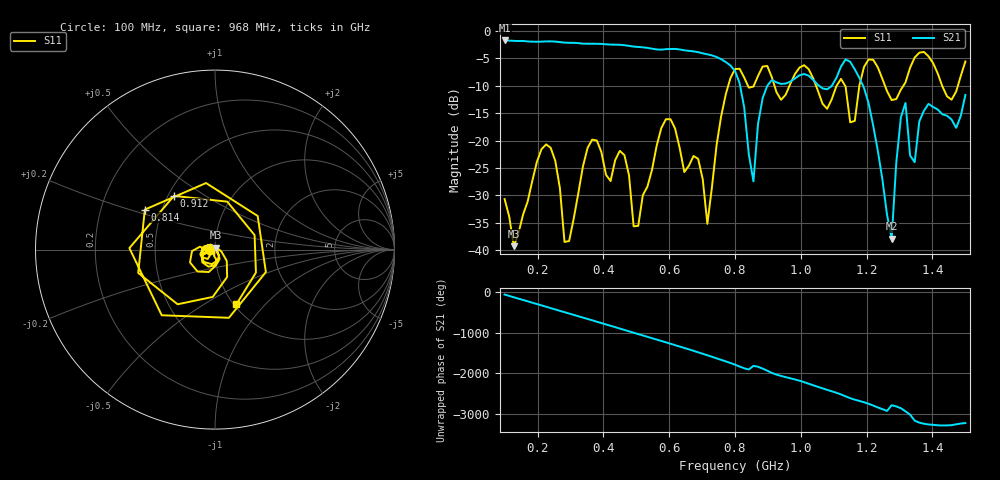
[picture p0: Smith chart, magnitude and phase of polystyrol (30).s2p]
! NanoVNA-App
! Date: 2025-09-26 09:42:07
! Start: 100MHz Stop: 1,5GHz Points: 101
! S-Parameter data: F S11 S21 S12 S22
# Hz S RI R 50
!  Frequency  S11_Real  S11_Imag  S21_Real  S21_Imag  S12_Real  S12_Imag  S22_Real  S22_Imag
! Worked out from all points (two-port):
!   101 points, 100 MHz to 1.5 GHz, reference 50 ohm
!   highest |S21| = -1.79 dB at 100 MHz (marker M1); lowest = -37.9 dB at 1.276 GHz (marker M2)
!   |S21| within 3 dB of the highest: start of sweep to 743.6 MHz
!   lowest |S11| = -39.2 dB at 128 MHz (marker M3), VSWR 1.02, Z = 50.3 + j1.06 ohm
!   |S11| at or under -10 dB: start of sweep to 779.5 MHz; 1.046 GHz to 1.109 GHz (63.08 MHz wide, 5.85 % of centre); 1.256 GHz to 1.312 GHz (56.33 MHz wide, 4.39 % of centre)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
!   S12 and S22 are empty: the file has one direction only
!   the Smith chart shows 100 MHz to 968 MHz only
!   S11 on the Smith chart (normalised r, x): 100 MHz: 0.94, -0.01; 814 MHz: 0.40, +0.22; 912 MHz: 0.54, +0.37; 968 MHz: 1.03, -0.70
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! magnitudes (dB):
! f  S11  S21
! 100 MHz  -30.7  -1.8
! 128 MHz  -39.2  -1.9
! 212 MHz  -21.6  -2.0
! 254 MHz  -23.7  -2.0
! 282 MHz  -38.5  -2.2
! 338 MHz  -24.7  -2.4
! 464 MHz  -22.7  -2.7
! 506 MHz  -35.5  -3.0
! 576 MHz  -17.7  -3.5
! 688 MHz  -23.3  -3.9
! 716 MHz  -35.2  -4.3
! 800 MHz  -7.0  -7.3
! 814 MHz  -6.9  -9.6
! 856 MHz  -10.2  -27.4
! 912 MHz  -8.5  -9.0
! 968 MHz  -9.7  -9.3
! 1.038 GHz  -8.7  -9.0
! 1.178 GHz  -10.0  -8.6
! 1.276 GHz  -12.6  -37.9
! 1.318 GHz  -9.4  -13.2
! 1.346 GHz  -4.9  -23.9
! 1.5 GHz  -5.6  -11.7
